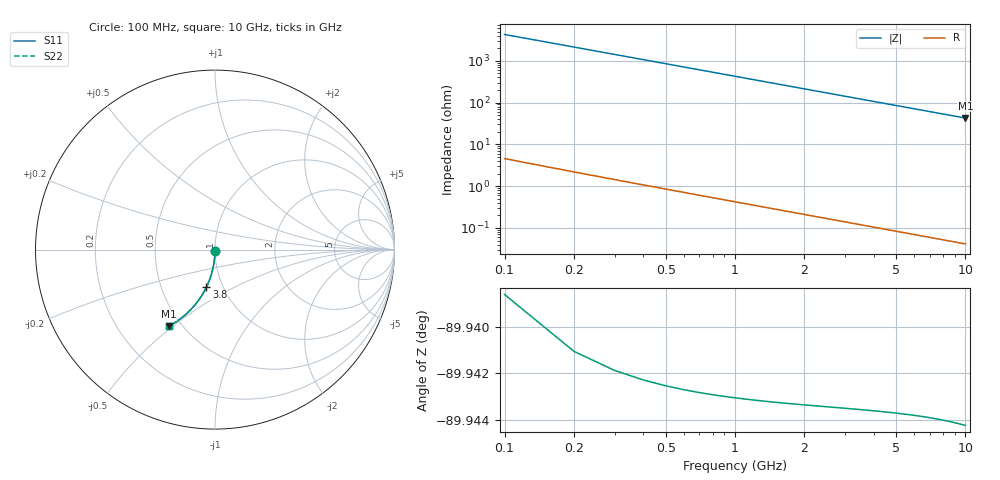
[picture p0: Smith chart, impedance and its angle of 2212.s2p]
# Hz S RI R 50.00
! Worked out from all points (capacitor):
!   100 points, 100 MHz to 10 GHz, reference 50 ohm
!   read as one part in shunt: C = 375 fF near 100 MHz
!   lowest |Z| = 42.6 ohm at 10 GHz (marker M1)
!   S11 on the Smith chart (normalised r, x): 100 MHz: 1.00, -0.01; 3.8 GHz: 0.84, -0.37; 10 GHz: 0.42, -0.48
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1e8  -1.28e-05 -0.00578  0.9999 -0.00599  0.9999 -0.00599  -1.28e-05 -0.00578
2e8  -0.000122 -0.0116  0.9998 -0.012  0.9998 -0.012  -0.000122 -0.0116
3e8  -0.000301 -0.0173  0.9996 -0.018  0.9996 -0.018  -0.000301 -0.0173
4e8  -0.000549 -0.0231  0.9994 -0.0239  0.9994 -0.0239  -0.000549 -0.0231
5e8  -0.000865 -0.0289  0.9991 -0.0299  0.9991 -0.0299  -0.000865 -0.0289
6e8  -0.00125 -0.0346  0.9987 -0.0359  0.9987 -0.0359  -0.00125 -0.0346
7e8  -0.00171 -0.0404  0.9982 -0.0418  0.9982 -0.0418  -0.00171 -0.0404
8e8  -0.00223 -0.0461  0.9977 -0.0478  0.9977 -0.0478  -0.00223 -0.0461
9e8  -0.00282 -0.0519  0.9971 -0.0537  0.9971 -0.0537  -0.00282 -0.0519
1.1e9  -0.00421 -0.0633  0.9957 -0.0656  0.9957 -0.0656  -0.00421 -0.0633
1.4e9  -0.00679 -0.0804  0.9931 -0.0833  0.9931 -0.0833  -0.00679 -0.0804
1.8e9  -0.0112 -0.1029  0.9888 -0.1066  0.9888 -0.1066  -0.0112 -0.1029
2.1e9  -0.0151 -0.1196  0.9848 -0.1239  0.9848 -0.1239  -0.0151 -0.1196
2.5e9  -0.0213 -0.1414  0.9786 -0.1466  0.9786 -0.1466  -0.0213 -0.1414
2.9e9  -0.0285 -0.1629  0.9715 -0.1689  0.9715 -0.1689  -0.0285 -0.1629
3.4e9  -0.0387 -0.1889  0.9612 -0.196  0.9612 -0.196  -0.0387 -0.1889
3.8e9  -0.0479 -0.2091  0.952 -0.217  0.952 -0.217  -0.0479 -0.2091
4.4e9  -0.0631 -0.2383  0.9367 -0.2474  0.9367 -0.2474  -0.0631 -0.2383
5.1e9  -0.083 -0.2702  0.9168 -0.2809  0.9168 -0.2809  -0.083 -0.2702
6.7e9  -0.1353 -0.3346  0.8646 -0.3486  0.8646 -0.3486  -0.1353 -0.3346
8.4e9  -0.1975 -0.3889  0.8023 -0.4066  0.8023 -0.4066  -0.1975 -0.3889
1e10  -0.2588 -0.427  0.7409 -0.4481  0.7409 -0.4481  -0.2588 -0.427
